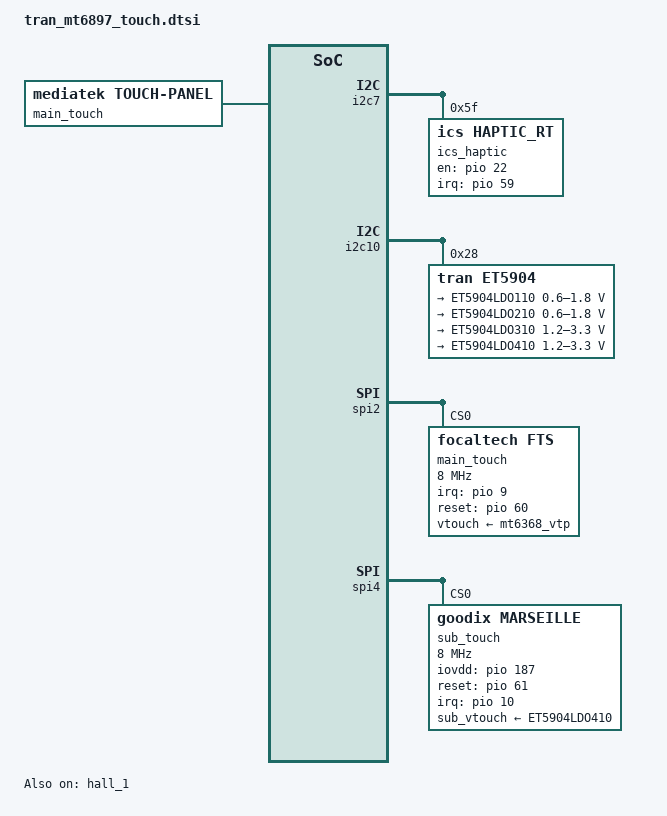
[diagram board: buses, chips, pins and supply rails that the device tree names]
// SPDX-License-Identifier: GPL-2.0
/*
 * Copyright (c) 2022 MediaTek Inc.
 */
/********************************************
 * MT6897 TOUCH/VIBR/KEY DTSI File
 ********************************************/

&chosen {
lra,info = <1 7 22>;//type:(1:X-lra 2:Z-lra)  bus_num:i2c7  reset_gpio:gpio22
};

&mt6363keys {
	home {
		linux,keycodes = <114>;
	};
};

/* RT6010 Haptic start */
&i2c7 {
	ics_haptic@5f {
		compatible = "ics,haptic_rt";
		reg = <0x5f>;
		interrupt-parent = <&pio>;
		interrupts = <59 IRQ_TYPE_EDGE_FALLING 59 0>;
		device-name = "vibrator_single";
		richtap-name = "aac_richtap_5f";
		gpio-en = <&pio 22 0>;
		gpio-irq = <&pio 59 0>;
		status = "ok";
		// rt6010 chip configuration
		rt6010_chip_id = <0x6B>;
		rt6010_reg_size = <0x6C>;
		rt6010_ram_size = <0x600>;
		rt6010_sys_f0 = <1700>;
		rt6010_list_base_addr = <0x400>;
		rt6010_wave_base_addr = <0x420>;
		rt6010_fifo_ae = <0x200>;
		rt6010_fifo_af = <0x300>;
		rt6010_boost_mode = <0x00>;
		rt6010_boost_vol = <0x0A>;
		rt6010_gain = <0x80>;
		rt6010_brake_en = <0>;
		rt6010_brake_wave_no = <0>;
		rt6010_brake_const = <0>;
		rt6010_brake_acq_point = <0>;
	};
};
/* RT6010 Haptic end */

&hall_1 {
		hall_rlk,irq-gpio = <&pio 5 0x0>;
		interrupt-parent = <&pio>;
		interrupts = <5 IRQ_TYPE_LEVEL_LOW 5 0>;
		pinctrl-names = "default";
		pinctrl-0 = <&hall_intpin_default>;
		status = "okay";
};
&pio {
	hall_intpin_default: halldefaultcfg {
		pins_cmd_dat {
			pinmux = <PINMUX_GPIO5__FUNC_GPIO5>;
			slew-rate = <0>;
			bias-pull-up = <00>;
			status = "okay";
		};
	};
};

&i2c10 {
	#address-cells = <1>;
	#size-cells = <0>;

	et5904@28 {
		compatible = "tran,et5904";
		reg = <0x28>;
		regulators {
			ET5904LDO110:ET5904LDO110 {
				regulator-name = "ET5904LDO110";
				regulator-min-microvolt = <600000>;
				regulator-max-microvolt = <1800000>;
			};
			ET5904LDO210:ET5904LDO210 {
				regulator-name = "ET5904LDO210";
				regulator-min-microvolt = <600000>;
				regulator-max-microvolt = <1800000>;
			};
			ET5904LDO310:ET5904LDO310 {
				regulator-name = "ET5904LDO310";
				regulator-min-microvolt = <1200000>;
				regulator-max-microvolt = <3300000>;
			};
			ET5904LDO410:ET5904LDO410 {
				regulator-name = "ET5904LDO410";
				regulator-min-microvolt = <1200000>;
				regulator-max-microvolt = <3300000>;
			};
		};
	};
};

&odm {
	main_touch: main_touch {
		compatible = "mediatek,touch-panel";
	};
};

&spi2 {
	main_touch@0 {
		 compatible = "focaltech,fts";
		 reg = <0>;
		 status = "ok";
		 spi-max-frequency = <8000000>;
		 interrupt-parent = <&pio>;

		 //For ft3683g  driver config
		 vtouch-supply = <&mt6368_vtp>;
		 focaltech,irq-gpio = <&pio 9 0x0>;
		 focaltech,reset-gpio = <&pio 60 0x0>;
		 focaltech,max-touch-number = <10>;
		 focaltech,display-coords =  <0 0 17279 38975>;
		 //focaltech,fod-function-support;
		 //focaltech,custom-mistouch-support;
	};
};
&spi4 {
	sub_touch@0 {
		 compatible = "goodix,marseille";
		 reg = <0>;
		 status = "ok";
		 spi-max-frequency = <8000000>;
		 interrupt-parent = <&pio>;

		 //For gt9615  driver config
		 goodix,avdd-name = "sub_vtouch";
		 sub_vtouch-supply = <&ET5904LDO410>;
		 //goodix,avdd-gpio = <&pio 81 0x0>;
		 goodix,iovdd-gpio = <&pio 187 0x0>;
		 goodix,reset-gpio = <&pio 61 0x0>;
		 goodix,irq-gpio = <&pio 10 0x0>;
		 goodix,irq-flags = <2>; /* 1:trigger rising, 2:trigger falling; */
		 goodix,panel-max-x = <1066>;
		 goodix,panel-max-y = <1056>;
		 goodix,panel-max-w = <255>;
		 /* optional properties */
		 goodix,panel-max-p = <4096>; /* max pressure that pen device supported */
		 //goodix,pen-enable; /* support active stylus device*/
		 goodix.sleep-enable; /* enter sleep mode */
		 goodix,firmware-name = "goodix_firmware.bin";
		 goodix,config-name = "goodix_cfg_group.bin";
		 pinctrl-names = "default","state_spi_mode";
		 pinctrl-0 = <&ctp_pins_default>;
		 pinctrl-1 = <&ctp_pins_spi_mode>;
	};
};

&pio {
	ctp_pins_default: ctp_default {
	};
	ctp_pins_spi_mode: ctp_spimode_default {
		pins_cmd_dat {
			pinmux = <PINMUX_GPIO38__FUNC_SPI4_MI>,
					 <PINMUX_GPIO37__FUNC_SPI4_CSB>,
					 <PINMUX_GPIO39__FUNC_SPI4_MO>,
					 <PINMUX_GPIO36__FUNC_SPI4_CLK>;
			drive-strength = <2>;
		};
	};
};
